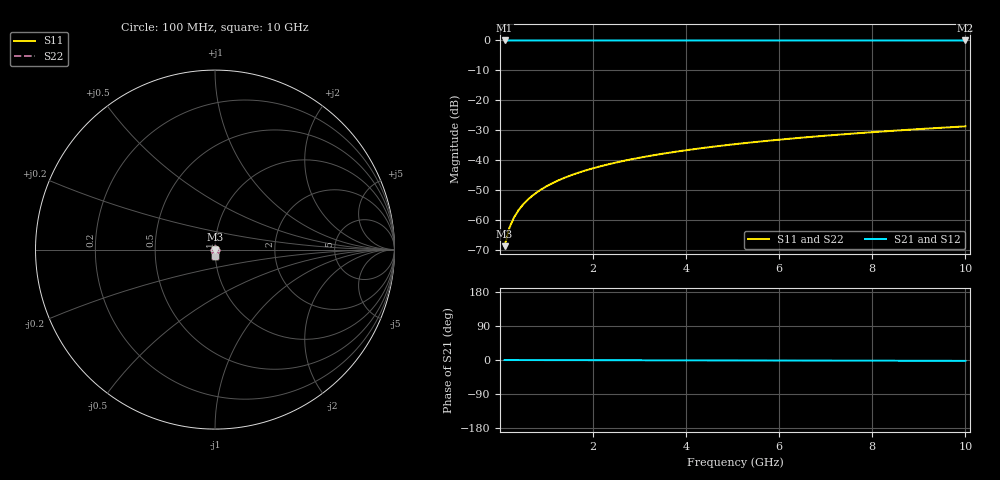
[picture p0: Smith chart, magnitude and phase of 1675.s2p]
# Hz S RI R 50.00
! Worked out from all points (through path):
!   100 points, 100 MHz to 10 GHz, reference 50 ohm
!   highest |S21| = 0.00 dB at 100 MHz (marker M1); lowest = 0.0 dB at 10 GHz (marker M2)
!   lowest |S11| = -68.7 dB at 100 MHz (marker M3), VSWR 1.00, Z = 50 - j0.0366 ohm
!   |S11| at or under -10 dB: start of sweep to end of sweep
!   |S22| runs from -68.7 to -28.7 dB; largest |S21 - S12| = 0
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1e8  8.17e-06 -0.000366  1 -0.000398  1 -0.000398  8.17e-06 -0.000366
2e8  7.42e-06 -0.000733  1 -0.000796  1 -0.000796  7.42e-06 -0.000733
3e8  6.36e-06 -0.0011  1 -0.00119  1 -0.00119  6.36e-06 -0.0011
4e8  5.01e-06 -0.00147  1 -0.00159  1 -0.00159  5.01e-06 -0.00147
5e8  3.35e-06 -0.00183  1 -0.00199  1 -0.00199  3.35e-06 -0.00183
6e8  1.41e-06 -0.0022  1 -0.00239  1 -0.00239  1.41e-06 -0.0022
7e8  -8.35e-07 -0.00256  1 -0.00279  1 -0.00279  -8.35e-07 -0.00256
8e8  -3.37e-06 -0.00293  1 -0.00318  1 -0.00318  -3.37e-06 -0.00293
9e8  -6.2e-06 -0.0033  1 -0.00358  1 -0.00358  -6.2e-06 -0.0033
1.1e9  -1.27e-05 -0.00403  1 -0.00438  1 -0.00438  -1.27e-05 -0.00403
1.4e9  -2.47e-05 -0.00513  1 -0.00557  1 -0.00557  -2.47e-05 -0.00513
1.8e9  -4.48e-05 -0.00659  0.9999 -0.00716  0.9999 -0.00716  -4.48e-05 -0.00659
2.1e9  -6.3e-05 -0.00769  0.9999 -0.00836  0.9999 -0.00836  -6.3e-05 -0.00769
2.5e9  -9.13e-05 -0.00916  0.9999 -0.00995  0.9999 -0.00995  -9.13e-05 -0.00916
2.9e9  -0.000124 -0.0106  0.9999 -0.0115  0.9999 -0.0115  -0.000124 -0.0106
3.4e9  -0.000172 -0.0125  0.9998 -0.0135  0.9998 -0.0135  -0.000172 -0.0125
4.2e9  -0.000264 -0.0154  0.9997 -0.0167  0.9997 -0.0167  -0.000264 -0.0154
5.1e9  -0.000389 -0.0187  0.9996 -0.0203  0.9996 -0.0203  -0.000389 -0.0187
5.9e9  -0.000521 -0.0216  0.9995 -0.0235  0.9995 -0.0235  -0.000521 -0.0216
6.7e9  -0.000672 -0.0246  0.9993 -0.0267  0.9993 -0.0267  -0.000672 -0.0246
8.4e9  -0.00105 -0.0308  0.9989 -0.0335  0.9989 -0.0335  -0.00105 -0.0308
1e10  -0.00149 -0.0367  0.9985 -0.0399  0.9985 -0.0399  -0.00149 -0.0367
